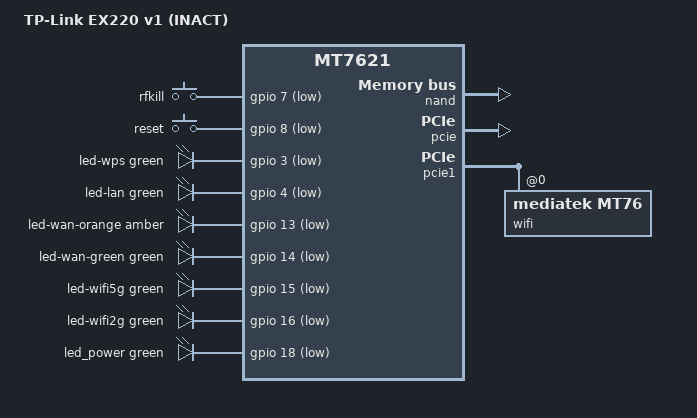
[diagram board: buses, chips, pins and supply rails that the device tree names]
// SPDX-License-Identifier: GPL-2.0-or-later OR MIT
/*
 * TP-Link EX220 v1, INACT variant.
 *
 * Same hardware as tplink,ex220-v1-nand, but the INACT vendor firmware
 * uses the smaller flash layout of tplink,archer-c5-v6-inact: 22 MB
 * firmware slots, firmware2 at 0x2300000 and misc_isp at 0x4500000.
 * The label MAC is not at the misc_ro offset used by the MTS board, so
 * MAC addresses come from labelMac in the bootloader environment.
 */

#include "mt7621.dtsi"

#include <dt-bindings/gpio/gpio.h>
#include <dt-bindings/input/input.h>
#include <dt-bindings/leds/common.h>

/ {
	compatible = "tplink,ex220-v1-inact", "mediatek,mt7621-soc";
	model = "TP-Link EX220 v1 (INACT)";

	aliases {
		led-boot = &led_power;
		led-failsafe = &led_power;
		led-running = &led_power;
		led-upgrade = &led_power;
	};

	/*
	 * The bootloader replaces bootargs with its own, including
	 * ubi.mtd=misc_isp, which stops the kernel from attaching "ubi".
	 */
	chosen {
		bootargs-override = "console=ttyS0,115200";
	};

	keys {
		compatible = "gpio-keys";

		button-wps {
			label = "rfkill";
			gpios = <&gpio 7 GPIO_ACTIVE_LOW>;
			linux,code = <KEY_RFKILL>;
		};

		button-reset {
			label = "reset";
			gpios = <&gpio 8 GPIO_ACTIVE_LOW>;
			linux,code = <KEY_RESTART>;
		};
	};

	leds {
		compatible = "gpio-leds";

		led-wps {
			color = <LED_COLOR_ID_GREEN>;
			function = LED_FUNCTION_WPS;
			gpios = <&gpio 3 GPIO_ACTIVE_LOW>;
		};

		led-lan {
			color = <LED_COLOR_ID_GREEN>;
			function = LED_FUNCTION_LAN;
			gpios = <&gpio 4 GPIO_ACTIVE_LOW>;
		};

		led-wan-orange {
			color = <LED_COLOR_ID_AMBER>;
			function = LED_FUNCTION_WAN;
			gpios = <&gpio 13 GPIO_ACTIVE_LOW>;
		};

		led-wan-green {
			color = <LED_COLOR_ID_GREEN>;
			function = LED_FUNCTION_WAN;
			gpios = <&gpio 14 GPIO_ACTIVE_LOW>;
		};

		led-wifi5g {
			color = <LED_COLOR_ID_GREEN>;
			function = LED_FUNCTION_WLAN;
			function-enumerator = <5>;
			gpios = <&gpio 15 GPIO_ACTIVE_LOW>;
			linux,default-trigger = "phy1tpt";
		};

		led-wifi2g {
			color = <LED_COLOR_ID_GREEN>;
			function = LED_FUNCTION_WLAN;
			function-enumerator = <2>;
			gpios = <&gpio 16 GPIO_ACTIVE_LOW>;
			linux,default-trigger = "phy0tpt";
		};

		led_power: led-power {
			color = <LED_COLOR_ID_GREEN>;
			function = LED_FUNCTION_POWER;
			gpios = <&gpio 18 GPIO_ACTIVE_LOW>;
		};
	};
};

&nand {
	status = "okay";

	/*
	 * The vendor bootloader accesses the NAND through NMBM, whose
	 * management tables live in the topmost blocks.
	 */
	mediatek,nmbm;
	mediatek,bmt-remap-range = <0x0 0x7800000>;

	partitions {
		compatible = "fixed-partitions";
		#address-cells = <1>;
		#size-cells = <1>;

		partition@0 {
			label = "boot";
			reg = <0x0 0x80000>;
			read-only;
		};

		partition@80000 {
			label = "boot_env";
			reg = <0x80000 0x80000>;
		};

		partition@100000 {
			label = "misc_ro";
			reg = <0x100000 0x600000>;
			read-only;
		};

		partition@700000 {
			label = "misc_rw";
			reg = <0x700000 0x600000>;
		};

		/*
		 * The vendor firmware1 slot (0xd00000, 22 MB) is split in two:
		 * a raw kernel FIT at the start, which the bootloader loads from
		 * that fixed address, and UBI for the rest.
		 */
		partition@d00000 {
			label = "kernel";
			reg = <0xd00000 0x400000>;
		};

		partition@1100000 {
			label = "ubi";
			reg = <0x1100000 0x1200000>;
		};

		partition@2300000 {
			label = "firmware2";
			reg = <0x2300000 0x1600000>;
			read-only;
		};

		partition@3900000 {
			label = "bflag";
			reg = <0x3900000 0x600000>;
		};

		partition@3f00000 {
			label = "misc_rw_bak";
			reg = <0x3f00000 0x600000>;
		};

		partition@4500000 {
			label = "misc_isp";
			reg = <0x4500000 0x600000>;
		};
	};
};

&pcie {
	status = "okay";
};

&pcie1 {
	wifi@0,0 {
		compatible = "mediatek,mt76";
		reg = <0x0000 0 0 0 0>;
		mediatek,disable-radar-background;

		/*
		 * The calibration data sits inside a JFFS2 file in the misc_ro
		 * partition, so it is copied over the default EEPROM at boot by
		 * the target's 11-mt76-caldata hotplug script. The per-band
		 * addresses are set by 10_fix_wifi_mac.
		 */
	};
};

&switch0 {
	ports {
		/* LAN1..LAN4 sockets are ports 0..3, the WAN socket is port 4 */
		port@0 {
			status = "okay";
			label = "lan1";
		};

		port@1 {
			status = "okay";
			label = "lan2";
		};

		port@2 {
			status = "okay";
			label = "lan3";
		};

		port@3 {
			status = "okay";
			label = "lan4";
		};

		port@4 {
			status = "okay";
			label = "wan";
		};
	};
};

&state_default {
	gpio {
		groups = "i2c", "uart3", "jtag", "wdt";
		function = "gpio";
	};
};
